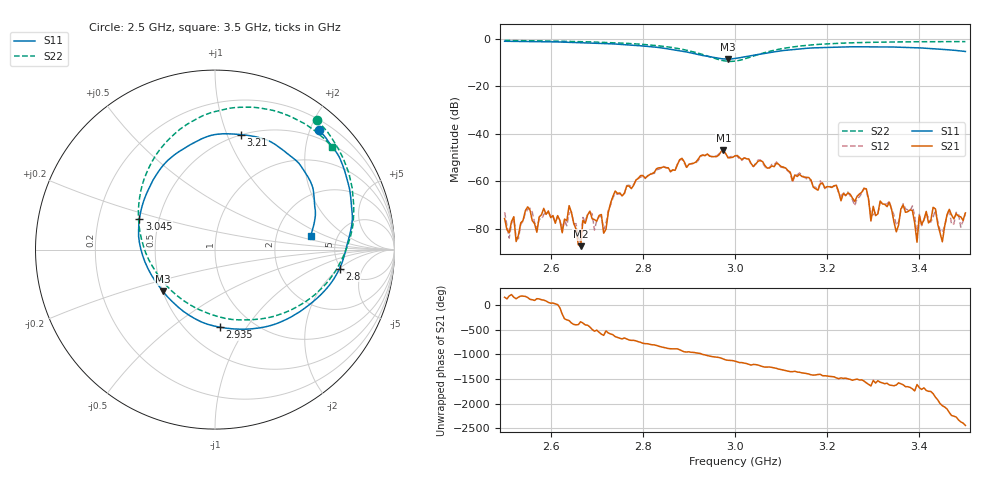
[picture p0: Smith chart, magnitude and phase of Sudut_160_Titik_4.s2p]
# Hz S RI R 50
! CMT, C1220, 16058040, 17.2.0/1
! Date: 15/08/2018 10:33:32
! Data: Format (Calibration Info)
! Freq  S11: Re/Im (F2)  S21: Re/Im (F2)  S12: Re/Im (F2)  S22: Re/Im (F2)
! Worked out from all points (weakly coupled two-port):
!   201 points, 2.5 GHz to 3.5 GHz, reference 50 ohm
!   highest |S21| = -47.10 dB at 2.975 GHz (marker M1); lowest = -87.4 dB at 2.665 GHz (marker M2)
!   lowest |S11| = -8.6 dB at 2.985 GHz (marker M3), VSWR 2.18, Z = 25 - j13.5 ohm
!   |S11| at or under -10 dB: nowhere
!   |S22| runs from -9.6 to -0.7 dB; largest |S21 - S12| = 0.00022
!   S11 on the Smith chart (normalised r, x): 2.5 GHz: 0.36, +2.14; 2.8 GHz: 4.84, -2.01; 2.935 GHz: 0.72, -0.76; 3.045 GHz: 0.39, +0.17; 3.21 GHz: 0.50, +1.12; 3.5 GHz: 3.17, +0.69
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2.5e9  0.5787 0.6661  -0.000156 4.51e-05  -0.000189 0.000117  0.5656 0.7224
2.64e9  0.7311 0.4086  0.0002 0.000229  0.000148 0.000149  0.7114 0.5142
2.665e9  0.7464 0.3519  3.84e-05 1.85e-05  4.51e-05 1.8e-05  0.7319 0.4623
2.67e9  0.7493 0.3391  0.00015 -4.29e-06  0.00017 -2.62e-05  0.7365 0.4515
2.72e9  0.7647 0.198  -9.2e-05 -3.13e-05  -0.000124 -2.87e-05  0.7659 0.3295
2.74e9  0.7607 0.1298  7.52e-05 0.000613  8.11e-06 0.000557  0.7707 0.274
2.8e9  0.6937 -0.1056  0.000814 -0.00103  0.000817 -0.000972  0.7547 0.0736
2.835e9  0.6077 -0.2324  -0.000752 -0.00176  -0.000627 -0.00167  0.7025 -0.0631
2.935e9  0.028 -0.4324  0.0011 0.00325  0.000966 0.00333  0.216 -0.3898
2.975e9  -0.2368 -0.291  0.0043 -0.00101  0.00411 -0.00102  -0.1016 -0.3285
2.985e9  -0.2907 -0.2321  0.00246 -0.00186  0.00262 -0.00181  -0.1748 -0.2845
3e9  -0.3579 -0.1356  0.00195 -0.00279  0.00177 -0.00292  -0.2727 -0.1984
3.045e9  -0.4213 0.1731  -0.00133 -0.00185  -0.00132 -0.002  -0.4239 0.1396
3.17e9  -0.00459 0.6401  0.000696 0.000257  0.000691 0.000338  -0.0785 0.7408
3.21e9  0.1455 0.6405  0.000723 -0.000127  0.000709 -0.000256  0.067 0.7844
3.285e9  0.3618 0.5669  -0.000494 -0.00048  -0.000418 -0.000482  0.2877 0.7823
3.295e9  0.3857 0.5491  -0.000137 4.69e-05  -0.000177 6.38e-05  0.3126 0.778
3.335e9  0.4669 0.4814  -0.00036 -8.89e-07  -0.000371 3.05e-05  0.4033 0.749
3.35e9  0.4898 0.4494  -8.54e-05 -1.57e-07  -0.000108 4.69e-05  0.432 0.7362
3.365e9  0.512 0.4146  -0.000313 -2.41e-05  -0.000335 3.69e-06  0.4611 0.7209
3.395e9  0.5438 0.3481  -5.07e-05 -8.7e-06  -5.51e-05 4.38e-05  0.5119 0.6933
3.5e9  0.5327 0.0773  4.55e-05 0.000209  5.71e-05 0.000201  0.6518 0.5735
